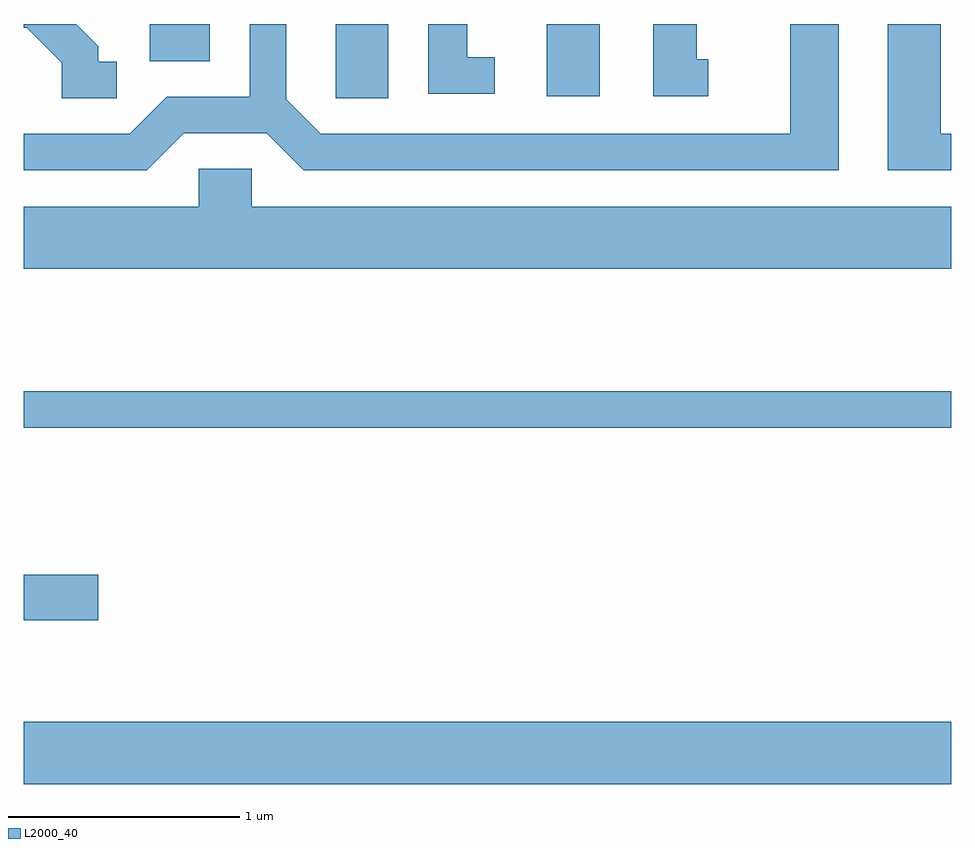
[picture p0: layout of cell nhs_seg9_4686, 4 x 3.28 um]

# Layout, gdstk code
import gdstk
lib = gdstk.Library(unit=1e-6, precision=1e-09)
def R(c, l, rs):  # rectangles x0, y0, x1, y1
    for r in rs: c.add(gdstk.rectangle(r[:2], r[2:], *l))
def P(c, l, *ps):  # polygons
    for p in ps: c.add(gdstk.Polygon(p, *l))
L2000_40 = (2000, 40)

nhs_seg9_4686 = lib.new_cell('nhs_seg9_4686')
R(nhs_seg9_4686, L2000_40, [(323.611,1985.156,327.611,1985.424), (323.611,1985.861,323.934,1986.059), (323.611,1986.691,327.611,1986.849), (324.956,1988.111,325.184,1988.432), (325.866,1988.121,326.094,1988.432), (324.156,1988.271,324.414,1988.432)])
P(nhs_seg9_4686, L2000_40, [(324.302,1987.961),(324.659,1987.961),(324.819,1987.801),(327.124,1987.801),(327.124,1988.432),(326.916,1988.432),(326.916,1987.959),(324.892,1987.959),(324.744,1988.107),(324.744,1988.432),(324.586,1988.432),(324.586,1988.119),(324.229,1988.119),(324.069,1987.959),(323.611,1987.959),(323.611,1987.801),(324.142,1987.801)],
  [(326.563,1988.279),(326.514,1988.279),(326.514,1988.432),(326.326,1988.432),(326.326,1988.121),(326.563,1988.121)],
  [(327.611,1987.959),(327.564,1987.959),(327.564,1988.432),(327.336,1988.432),(327.336,1987.801),(327.611,1987.801)],
  [(324.013,1988.269),(323.934,1988.269),(323.934,1988.337),(323.839,1988.432),(323.611,1988.432),(323.611,1988.416),(323.624,1988.416),(323.776,1988.264),(323.776,1988.111),(324.013,1988.111)],
  [(325.643,1988.289),(325.524,1988.289),(325.524,1988.432),(325.356,1988.432),(325.356,1988.131),(325.643,1988.131)],
  [(327.611,1987.644),(324.594,1987.644),(324.594,1987.809),(324.366,1987.809),(324.366,1987.644),(323.611,1987.644),(323.611,1987.376),(327.611,1987.376)])

lib.write_gds('nhs_seg9_4686.gds')
